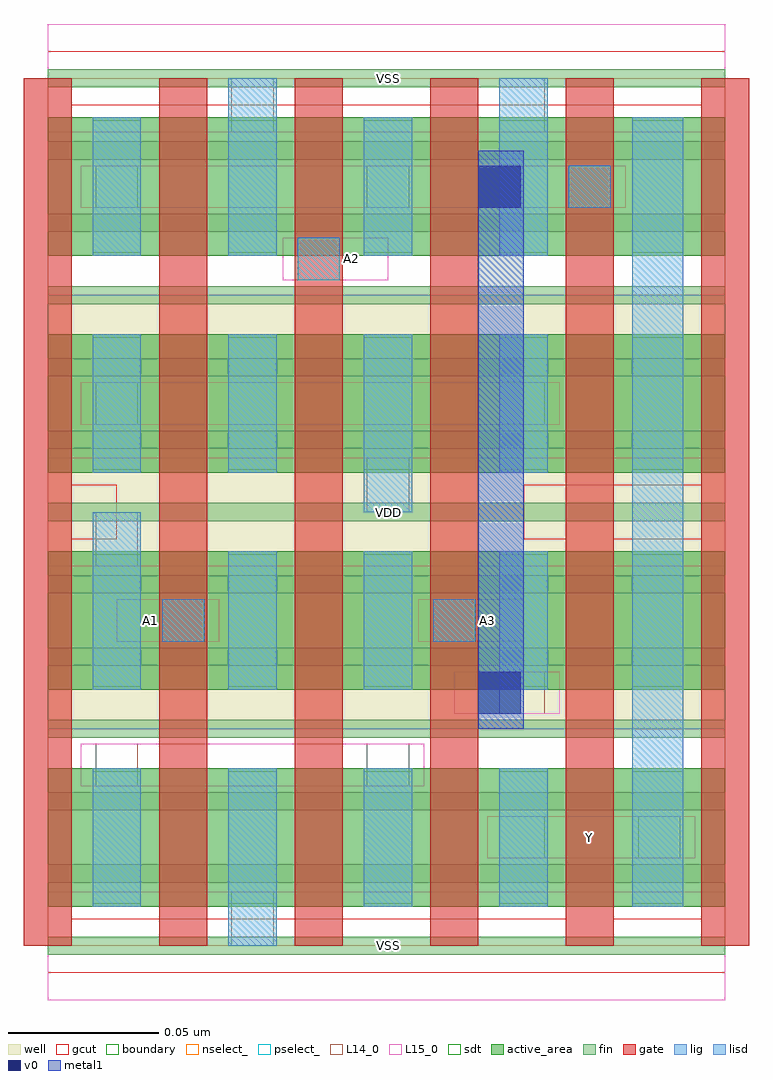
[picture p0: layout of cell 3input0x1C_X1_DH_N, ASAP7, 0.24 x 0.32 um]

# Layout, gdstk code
import gdstk
lib = gdstk.Library(unit=1e-6, precision=1e-09)
def R(c, l, rs):  # rectangles x0, y0, x1, y1
    for r in rs: c.add(gdstk.rectangle(r[:2], r[2:], *l))
def A(c, l, x, y, w, h, nx, ny, dx, dy):  # array of equal rectangles
    R(c, l, [(x+i*dx, y+j*dy, x+i*dx+w, y+j*dy+h) for i in range(nx) for j in range(ny)])
def P(c, l, *ps):  # polygons
    for p in ps: c.add(gdstk.Polygon(p, *l))
well = (1, 0)
fin = (2, 0)
gate = (7, 0)
gcut = (10, 0)
active_area = (11, 0)
nselect_ = (12, 0)
pselect_ = (13, 0)
L14_0 = (14, 0)
L15_0 = (15, 0)
lig = (16, 0)
lisd = (17, 0)
v0 = (18, 0)
metal1 = (19, 0)
sdt = (88, 0)
boundary = (100, 0)

c_3input0x1c_x1_dh_n = lib.new_cell('3input0x1C_X1_DH_N')
R(c_3input0x1c_x1_dh_n, well, [(0,0.072,0.225,0.144), (0,0.144,0.225,0.216)])
A(c_3input0x1c_x1_dh_n, fin, 0, -0.003, 0.225, 0.006, 1, 13, 0, 0.024)
A(c_3input0x1c_x1_dh_n, gate, -0.008, 0, 0.016, 0.288, 6, 1, 0.045, 0)
P(c_3input0x1c_x1_dh_n, gcut, [(0,-0.009),(0,0),(-0.008,0),(-0.008,0.279),(0.008,0.279),(0.008,0.153),(0.023,0.153),(0.023,0.135),(0.008,0.135),(0.008,0.009),(0.172,0.009),(0.172,0.135),(0.188,0.135),(0.188,0.009),(0.217,0.009),(0.217,0.135),(0.158,0.135),(0.158,0.153),(0.217,0.153),(0.217,0.279),(-0.008,0.279),(-0.008,0.288),(0,0.288),(0,0.297),(0.225,0.297),(0.225,0.288),(0.233,0.288),(0.233,0),(0.225,0),(0.225,-0.009)])
A(c_3input0x1c_x1_dh_n, active_area, 0, 0.013, 0.225, 0.046, 1, 4, 0, 0.072)
R(c_3input0x1c_x1_dh_n, nselect_, [(0,0,0.225,0.072), (0,0.216,0.225,0.288)])
R(c_3input0x1c_x1_dh_n, pselect_, [(0,0.072,0.225,0.144), (0,0.144,0.225,0.216)])
R(c_3input0x1c_x1_dh_n, L14_0, [(0.061,0,0.075,0.018), (0.15,0.029,0.165,0.043), (0.196,0.029,0.21,0.043), (0.016,0.053,0.03,0.067), (0.106,0.053,0.12,0.067), (0.15,0.077,0.165,0.091), (0.038,0.101,0.052,0.115), (0.128,0.101,0.142,0.115), (0.016,0.126,0.03,0.144), (0.106,0.144,0.12,0.162), (0.016,0.173,0.03,0.187), (0.15,0.173,0.165,0.187), (0.083,0.221,0.097,0.235), (0.016,0.245,0.03,0.259), (0.106,0.245,0.12,0.259), (0.173,0.245,0.187,0.259), (0.061,0.27,0.075,0.288), (0.15,0.27,0.165,0.288)])
A(c_3input0x1c_x1_dh_n, L15_0, 0, -0.018, 0.225, 0.036, 1, 3, 0, 0.144)
R(c_3input0x1c_x1_dh_n, L15_0, [(0.146,0.029,0.215,0.043), (0.011,0.053,0.125,0.067), (0.135,0.077,0.17,0.091), (0.023,0.101,0.057,0.115), (0.123,0.101,0.158,0.115), (0.011,0.173,0.17,0.187), (0.078,0.221,0.113,0.235), (0.011,0.245,0.192,0.259)])
R(c_3input0x1c_x1_dh_n, lig, [(0.038,0.101,0.052,0.115), (0.128,0.101,0.142,0.115), (0.083,0.221,0.097,0.235), (0.173,0.245,0.187,0.259)])
A(c_3input0x1c_x1_dh_n, lisd, 0.06, 0.085, 0.016, 0.046, 3, 1, 0.045, 0)
R(c_3input0x1c_x1_dh_n, lisd, [(0.06,0,0.076,0.059), (0.015,0.013,0.031,0.059), (0.105,0.013,0.121,0.059), (0.15,0.013,0.166,0.059), (0.194,0.013,0.211,0.275), (0.015,0.085,0.031,0.144), (0.105,0.144,0.121,0.203), (0.015,0.157,0.031,0.203), (0.06,0.157,0.076,0.203), (0.15,0.157,0.166,0.203), (0.015,0.229,0.031,0.275), (0.06,0.229,0.076,0.288), (0.105,0.229,0.121,0.275), (0.15,0.229,0.166,0.288)])
R(c_3input0x1c_x1_dh_n, v0, [(0.143,0.077,0.157,0.091), (0.143,0.245,0.157,0.259)])
R(c_3input0x1c_x1_dh_n, metal1, [(0.143,0.072,0.158,0.264)])
A(c_3input0x1c_x1_dh_n, sdt, 0.015, 0.014, 0.016, 0.044, 4, 4, 0.045, 0.072)
A(c_3input0x1c_x1_dh_n, sdt, 0.194, 0.014, 0.017, 0.044, 1, 4, 0, 0.072)
R(c_3input0x1c_x1_dh_n, boundary, [(0,0,0.225,0.288)])
c_3input0x1c_x1_dh_n.add(gdstk.Label('Y', (0.18,0.036), layer=15, texttype=251))
c_3input0x1c_x1_dh_n.add(gdstk.Label('VSS', (0.113,0), layer=15, texttype=251))
c_3input0x1c_x1_dh_n.add(gdstk.Label('VDD', (0.113,0.144), layer=15, texttype=251))
c_3input0x1c_x1_dh_n.add(gdstk.Label('VDD', (0.113,0.144), layer=15, texttype=251))
c_3input0x1c_x1_dh_n.add(gdstk.Label('VSS', (0.113,0.288), layer=15, texttype=251))
c_3input0x1c_x1_dh_n.add(gdstk.Label('A1', (0.034,0.108), layer=15, texttype=251))
c_3input0x1c_x1_dh_n.add(gdstk.Label('VSS', (0.113,0), layer=15, texttype=251))
c_3input0x1c_x1_dh_n.add(gdstk.Label('VDD', (0.113,0.144), layer=15, texttype=251))
c_3input0x1c_x1_dh_n.add(gdstk.Label('VDD', (0.113,0.144), layer=15, texttype=251))
c_3input0x1c_x1_dh_n.add(gdstk.Label('VSS', (0.113,0.288), layer=15, texttype=251))
c_3input0x1c_x1_dh_n.add(gdstk.Label('A3', (0.146,0.108), layer=15, texttype=251))
c_3input0x1c_x1_dh_n.add(gdstk.Label('VSS', (0.113,0), layer=15, texttype=251))
c_3input0x1c_x1_dh_n.add(gdstk.Label('VDD', (0.113,0.144), layer=15, texttype=251))
c_3input0x1c_x1_dh_n.add(gdstk.Label('VDD', (0.113,0.144), layer=15, texttype=251))
c_3input0x1c_x1_dh_n.add(gdstk.Label('VSS', (0.113,0.288), layer=15, texttype=251))
c_3input0x1c_x1_dh_n.add(gdstk.Label('A2', (0.101,0.228), layer=15, texttype=251))
c_3input0x1c_x1_dh_n.add(gdstk.Label('VSS', (0.113,0), layer=15, texttype=251))
c_3input0x1c_x1_dh_n.add(gdstk.Label('VDD', (0.113,0.144), layer=15, texttype=251))
c_3input0x1c_x1_dh_n.add(gdstk.Label('VDD', (0.113,0.144), layer=15, texttype=251))
c_3input0x1c_x1_dh_n.add(gdstk.Label('VSS', (0.113,0.288), layer=15, texttype=251))
c_3input0x1c_x1_dh_n.add(gdstk.Label('VSS', (0.113,0), layer=3, texttype=251))
c_3input0x1c_x1_dh_n.add(gdstk.Label('VSS', (0.113,0.288), layer=3, texttype=251))
c_3input0x1c_x1_dh_n.add(gdstk.Label('VSS', (0.113,0), layer=3, texttype=251))
c_3input0x1c_x1_dh_n.add(gdstk.Label('VSS', (0.113,0.288), layer=3, texttype=251))
c_3input0x1c_x1_dh_n.add(gdstk.Label('VSS', (0.113,0), layer=3, texttype=251))
c_3input0x1c_x1_dh_n.add(gdstk.Label('VSS', (0.113,0.288), layer=3, texttype=251))
c_3input0x1c_x1_dh_n.add(gdstk.Label('VSS', (0.113,0), layer=3, texttype=251))
c_3input0x1c_x1_dh_n.add(gdstk.Label('VSS', (0.113,0.288), layer=3, texttype=251))
c_3input0x1c_x1_dh_n.add(gdstk.Label('VDD', (0.113,0.144), layer=1, texttype=251))
c_3input0x1c_x1_dh_n.add(gdstk.Label('VDD', (0.113,0.144), layer=1, texttype=251))
c_3input0x1c_x1_dh_n.add(gdstk.Label('VDD', (0.113,0.144), layer=1, texttype=251))
c_3input0x1c_x1_dh_n.add(gdstk.Label('VDD', (0.113,0.144), layer=1, texttype=251))
c_3input0x1c_x1_dh_n.add(gdstk.Label('VDD', (0.113,0.144), layer=1, texttype=251))
c_3input0x1c_x1_dh_n.add(gdstk.Label('VDD', (0.113,0.144), layer=1, texttype=251))
c_3input0x1c_x1_dh_n.add(gdstk.Label('VDD', (0.113,0.144), layer=1, texttype=251))
c_3input0x1c_x1_dh_n.add(gdstk.Label('VDD', (0.113,0.144), layer=1, texttype=251))

lib.write_gds('3input0x1C_X1_DH_N.gds')
